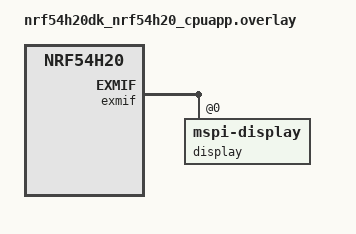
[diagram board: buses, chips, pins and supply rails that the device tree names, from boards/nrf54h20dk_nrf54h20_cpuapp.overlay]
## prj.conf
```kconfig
CONFIG_MSPI=y

CONFIG_LOG=y
CONFIG_LOG_PRINTK=n
```

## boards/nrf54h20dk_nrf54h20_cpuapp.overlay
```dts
/delete-node/ &mx25uw63;

&exmif {
	// tx-fifo-threshold = <30>;
	// rx-fifo-threshold = <1>;

	display: display@0 {
		compatible = "mspi-display";
		status = "okay";
		reg = <0>;

		mspi-max-frequency = <DT_FREQ_M(50)>;
		mspi-io-mode = "MSPI_IO_MODE_QUAD_1_1_4";
		mspi-data-rate = "MSPI_DATA_RATE_SINGLE";
		mspi-hardware-ce-num = <1>;
		mspi-cpp-mode = "MSPI_CPP_MODE_0";
		mspi-endian = "MSPI_BIG_ENDIAN";
		mspi-ce-polarity = "MSPI_CE_ACTIVE_LOW";
	};
};
```

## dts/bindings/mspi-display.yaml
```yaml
# Copyright (c) 2024 Nordic Semiconductor ASA
# SPDX-License-Identifier: Apache-2.0

description: MSPI display

compatible: "mspi-display"

include: [mspi-device.yaml]
```

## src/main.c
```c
/*
 * Copyright (c) 2020 Peter Bigot Consulting, LLC
 *
 * SPDX-License-Identifier: Apache-2.0
 */

#include <zephyr/kernel.h>
#include <zephyr/device.h>
#include <zephyr/drivers/mspi.h>

#define MSPI_NODE DT_NODELABEL(exmif)
#define DISPLAY_NODE DT_NODELABEL(display)

#define BUF_LEN (10 * 1024)
static uint8_t buf[BUF_LEN];

static int test(const struct device *mspi_dev)
{
	const struct mspi_dev_id dev_id = MSPI_DEVICE_ID_DT(DISPLAY_NODE);
	int rc;

	struct mspi_dev_cfg dev_cfg = MSPI_DEVICE_CONFIG_DT(DISPLAY_NODE);
	struct mspi_xfer_packet packet = {
		.data_buf = buf,
	};
	struct mspi_xfer xfer = {
		.xfer_mode   = MSPI_PIO,
		.packets     = &packet,
		.num_packet  = 1,
		.timeout     = 100,
	};

	rc = mspi_dev_config(mspi_dev, &dev_id,
			     MSPI_DEVICE_CONFIG_ALL, &dev_cfg);
	if (rc < 0) {
		printk("mspi_dev_config() failed: %d\n", rc);
		return rc;
	}

	for (int i = 0; i < sizeof(buf); ++i) {
		buf[i] = (uint8_t)i;
	}

	packet.dir = MSPI_TX;
	packet.cmd = 0x00;
	packet.num_bytes = sizeof(buf);
	xfer.cmd_length = 1;
	xfer.addr_length = 3;
	xfer.tx_dummy = 0;
	rc = mspi_transceive(mspi_dev, &dev_id, &xfer);
	if (rc < 0) {
		printk("mspi_transceive() failed: %d\n", rc);
		return rc;
	}

	return 0;
}

int main(void)
{
	const struct device *mspi_dev = DEVICE_DT_GET(MSPI_NODE);
	int rc;

	printk("EXMIF test on %s\n", CONFIG_BOARD_TARGET);

	if (!device_is_ready(mspi_dev)) {
		printk("%s: device not ready\n", mspi_dev->name);
		return -1;
	}

	if (1) {
		rc = test(mspi_dev);
		if (rc < 0) {
			return -1;
		}
	}

	return 0;
}
```
